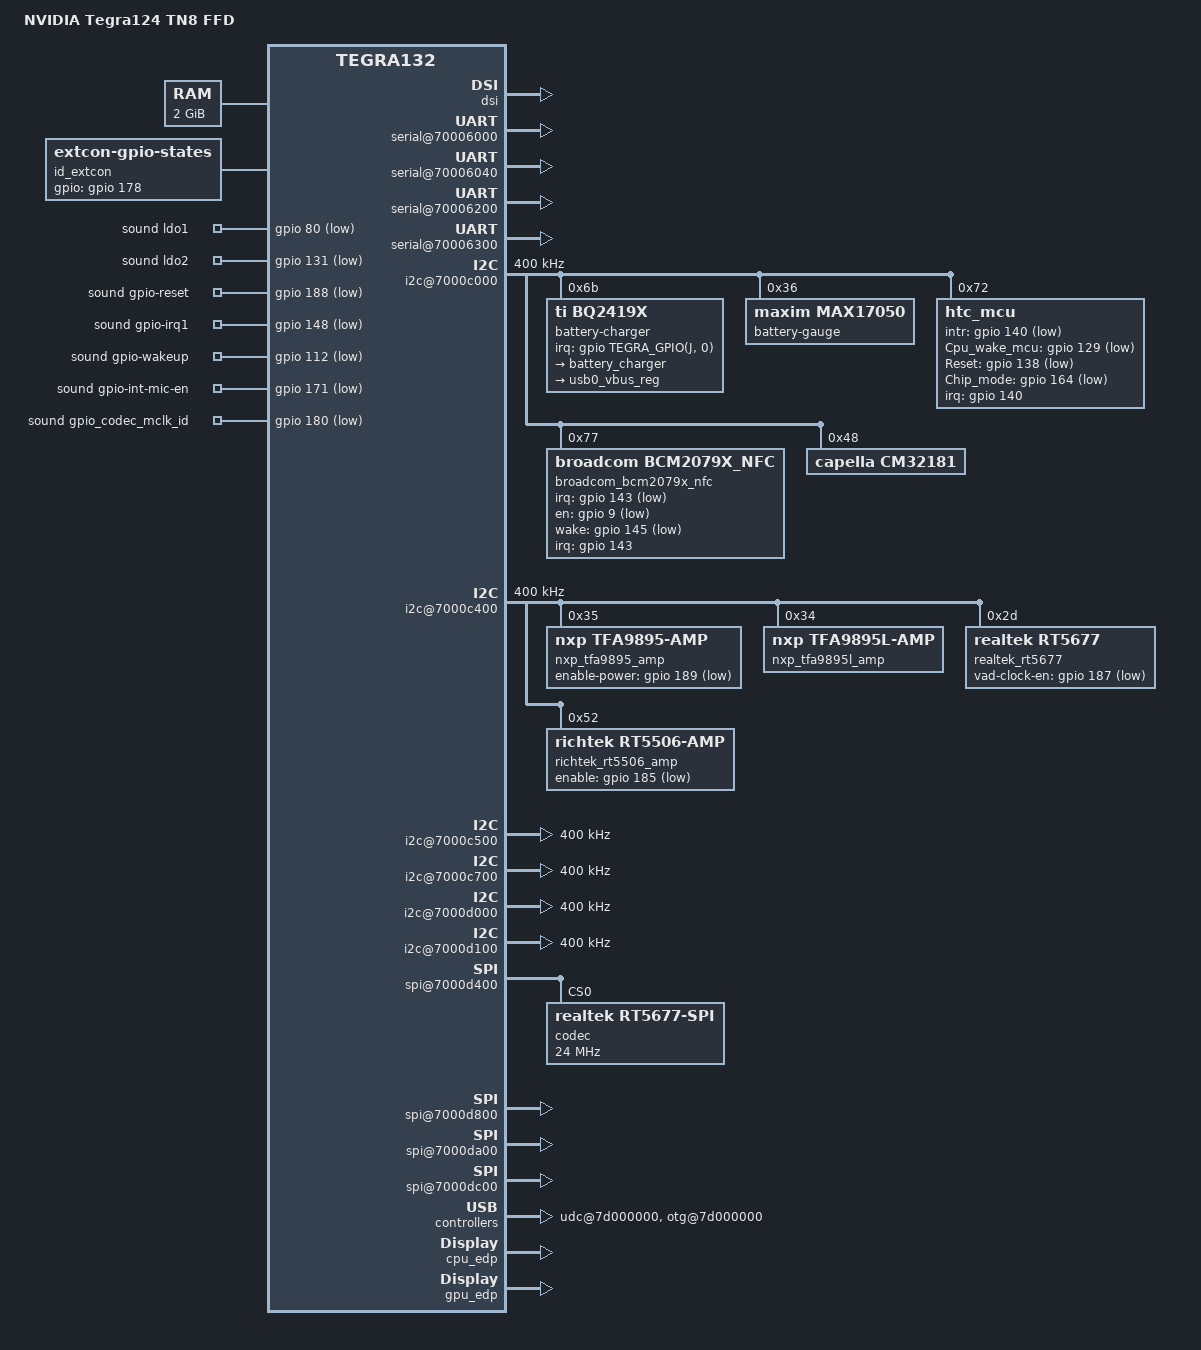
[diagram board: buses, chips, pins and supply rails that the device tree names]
#include <dt-bindings/gpio/tegra-gpio.h>
#include <dt-bindings/mfd/palmas.h>
#include <dt-bindings/regulator/regulator.h>

#define TEGRA132_PACKAGE_IS_DSC

#include "tegra132-soc-shield.dtsi"
/*#include "tegra132-flounder-camera.dtsi"
#include "tegra132-flounder-trusty.dtsi"*/
#include "tegra132-flounder-powermon.dtsi"
#include "tegra132-flounder-emc.dtsi"
#include "tegra132-tn8-dfll.dtsi"
#include "tegra132-flounder-touch.dtsi"
#include "tegra132-platforms/tegra132-flounder-gpio-default.dtsi"
#include "tegra132-platforms/tegra132-flounder-pinmux.dtsi"
#include "tegra132-platforms/tegra132-flounder-keys.dtsi"
#include "tegra132-platforms/tegra132-flounder-sdhci.dtsi"
#include "tegra132-platforms/tegra132-flounder-wireless.dtsi"
#include "tegra132-flounder-power-tree.dtsi"
#include "tegra124-platforms/tegra124-tn8-cpufreq.dtsi"
#include "tegra132-flounder-sysedp.dtsi"
#include "tegra132-platforms/tegra132-therm-est.dtsi"
#include "tegra132-flounder-thermal.dtsi"
#include "tegra132-flounder-sysedp_therm.dtsi"
#include "tegra132-platforms/tegra132-edp.dtsi"
#include "tegra132-platforms/tegra132-thermal-nct72.dtsi"
#include "tegra132-platforms/tegra132-thermal-Tboard-Tdiode.dtsi"
#include "tegra132-platforms/tegra132-power-dvfs.dtsi"

#include "panel-j-qxga-8-9.dtsi"

/ {
	model = "NVIDIA Tegra124 TN8 FFD";
	compatible = "nvidia,flounder", "nvidia,tegra132";

//	nvidia,boardids = "1780:1100:2:B:7","1794:1000:0:A:6";
	nvidia,boardids = "1761:1270:3";
	#address-cells = <2>;
	#size-cells = <2>;

	chosen {
		bootargs = "tegraid=40.0.0.00.00 vmalloc=256M video=tegrafb console= earlyprintk vpr_resize tsec=32M@4064M vpr=186M@3910M otf_key=914e3cd033c06c6370b630bb6ec9dd4e board_info=0x06e1:0x04d2:0x04:0x00:0x00 displayboard=0x0791:0x03e8:0x00:0x00:0x00 pmuboard=0x06e1:0x04d2:0x04:0x00:0x00";
		linux,initrd-start = <0x85000000>;
		linux,initrd-end = <0x851bc400>;
	};


	firmware {
		android {
			compatible = "android,firmware";
			hardware = "flounder";
		};
	};

        host1x {
		/* tegradc.0 */
		dc@54200000 {
			status = "okay";
			nvidia,dc-flags = <TEGRA_DC_FLAG_ENABLED>;
			nvidia,emc-clk-rate = <204000000>;
			nvidia,cmu-enable = <0>;
			nvidia,low-v-win = <0x2>;
			nvidia,fb-bpp = <32>; /* bits per pixel */
			nvidia,fb-flags = <TEGRA_FB_FLIP_ON_PROBE>;
		};
		/* tegradc.1 */
		dc@54240000 {
			status = "disabled";
			nvidia,dc-flags = <TEGRA_DC_FLAG_ENABLED>;
			nvidia,emc-clk-rate = <300000000>;
			nvidia,fb-bpp = <32>; /* bits per pixel */
			nvidia,fb-flags = <TEGRA_FB_FLIP_ON_PROBE>;
		};
		dsi {
			nvidia,dsi-controller-vs = <DSI_VS_1>;
			status = "okay";
			panel-j-qxga-8-9 {
				status = "okay";
				nvidia,panel-rst-gpio = <&gpio TEGRA_GPIO(H, 5) GPIO_ACTIVE_LOW>;
			};
		};
		tsec {
			status = "okay";
		};

		hdmi {
			status = "disabled";
		};
		vi {
			status = "disabled";
		};

	};

	pmc@7000e400 {
		status = "okay";
		nvidia,invert-interrupt;
		nvidia,suspend-mode = <0>;
		nvidia,cpu-suspend-freq = <408000>;
		nvidia,cpu-pwr-good-time = <500>;
		nvidia,cpu-pwr-off-time = <300>;
		nvidia,core-pwr-good-time = <3845 3845>;
		nvidia,core-pwr-off-time = <2000>;
		nvidia,core-power-req-active-high;
		nvidia,sys-clock-req-active-high;
	};

	serial@70006000 {
		compatible = "nvidia,tegra114-hsuart";
		status = "okay";
	};

	serial@70006040 {
		compatible = "nvidia,tegra114-hsuart";
		status = "okay";
	};

	serial@70006200 {
		compatible = "nvidia,tegra114-hsuart";
		status = "okay";
	};

	serial@70006300 {
		compatible = "nvidia,tegra114-hsuart";
		status = "okay";
	};

	memory@0x80000000 {
		device_type = "memory";
		reg = <0x0 0x80000000 0x0 0x80000000>;
	};

	i2c@7000c000 {
		status = "okay";
		clock-frequency = <400000>;

		battery-charger@6b {
			compatible = "ti,bq2419x";
			reg = <0x6b>;

			interrupt-parent = <&gpio>;
			interrupts = <TEGRA_GPIO(J, 0) 0x0>;

			battery_charger: charger {
				status = "okay";
				regulator-name = "batt_regulator";
				regulator-max-microamp = <3000000>;
				ti,disbale-suspend-during-charging;
				ti,input-voltage-limit-millivolt = <4440>;
				ti,charge-voltage-limit-millivolt = <4352>;
				ti,charge-term-current-limit-milliamp = <128>;
				ti,ir-comp-voltage-millivolt = <1>;
				ti,ir-comp-resister-ohm = <1>;
				ti,pre-charge-current-limit-milliamp = <512>;
				ti,fast-charge-current-limit-milliamp = <2944>;
				ti,thermal-regulation-threshold-degc = <120>;
				consumers {
					c1 {
						regulator-consumer-supply = "usb_bat_chg";
						regulator-consumer-device = "tegra-udc.0";
					};
					c2 {
						regulator-consumer-supply = "usb_bat_chg";
						regulator-consumer-device = "tegra-otg";
					};
				};
			};

			usb0_vbus_reg: vbus {
				regulator-name = "vbus_regulator";
				consumers {
					c1 {
						regulator-consumer-supply = "usb_vbus";
						regulator-consumer-device = "tegra-ehci.0";
					};

					c2 {
						regulator-consumer-supply = "usb_vbus";
						regulator-consumer-device = "tegra-otg";
					};
				};

			};
		};

		battery-gauge@36 {
			status = "okay";
			compatible = "maxim,max17050";
			reg = <0x36>;
		};

		htc_mcu@72 {
			status = "okay";
			compatible = "htc_mcu";
			reg = <0x72>;
			interrupt-parent = <&gpio>;
			interrupts = <140 0x0>;
			mcu,intr-gpio  = <&gpio 140 GPIO_ACTIVE_LOW>;
			mcu,gs_chip_layout = <1>;
			mcu,acceleration_axes = <7>;
			mcu,magnetic_axes = <7>;
			mcu,gyro_axes = <7>;
			mcu,Cpu_wake_mcu-gpio = <&gpio 129 GPIO_ACTIVE_LOW>;
			mcu,Reset-gpio = <&gpio 138 GPIO_ACTIVE_LOW>;
			mcu,Chip_mode-gpio = <&gpio 164 GPIO_ACTIVE_LOW>;
		};

		broadcom_bcm2079x_nfc@0x77 {
			status = "okay";
			compatible = "broadcom,bcm2079x_nfc";
			reg = <0x77>;
			broadcom,irq-gpio = <&gpio 143 GPIO_ACTIVE_LOW>;
			broadcom,en-gpio = <&gpio 9 GPIO_ACTIVE_LOW>;
			broadcom,wake-gpio = <&gpio 145 GPIO_ACTIVE_LOW>;
			interrupt-parent = <&gpio>;
			interrupts = <143 0x0>;
		};

		cm32181@48 {
			status = "okay";
			compatible = "capella,cm32181";
			reg = <0x48>;
		};
	};

	i2c@7000c400 {
		status = "okay";
		clock-frequency = <400000>;

		nxp_tfa9895_amp@35 {
			status = "okay";
			compatible = "nxp,tfa9895-amp";
			reg = <0x35>;
			tfa9895,enable-power-gpio = <&gpio 189 GPIO_ACTIVE_LOW>;
		};

		nxp_tfa9895l_amp@34 {
			status = "okay";
			compatible = "nxp,tfa9895l-amp";
			reg = <0x34>;
		};

		realtek_rt5677@2d {
			status = "okay";
			compatible = "realtek,rt5677";
			reg = <0x2d>;
			realtek,vad-clock-en = <&gpio 187 GPIO_ACTIVE_LOW>;
		};

		richtek_rt5506_amp@52 {
			status = "okay";
			compatible = "richtek,rt5506-amp";
			reg = <0x52>;
			richtek,enable-gpio = <&gpio 185 GPIO_ACTIVE_LOW>;
		};
	};

	i2c@7000c500 {
		status = "okay";
		clock-frequency = <400000>;
	};

	i2c@7000c700 {
		status = "okay";
		clock-frequency = <400000>;
	};

	i2c@7000d000 {
		status = "okay";
		clock-frequency = <400000>;
		nvidia,bit-banging-xfer-after-shutdown;
	};

	i2c@7000d100 {
		status = "okay";
		clock-frequency = <400000>;
	};

	spi@7000d400 {
		status = "okay";
		spi-max-frequency = <25000000>;

		codec@0 {
			status = "okay";	
			compatible = "realtek,rt5677-spi";	
			reg = <0>;	
			spi-max-frequency = <24000000>;	
		};
	};

	spi@7000d800 {
		status = "okay";
		spi-max-frequency = <25000000>;
	};

	spi@7000da00 {
		status = "okay";
		spi-max-frequency = <25000000>;
	};

	spi@7000dc00 {
		status = "okay";
		spi-max-frequency = <25000000>;
	};

	denver_cpuidle_pmic {
		type = <4>; /* TPS 65913 2.3*/
		retention-voltage = <11>;  /* Vret = 0.55v */
		lock = <0>;
	};

	xusb@70090000 {
		/* nvidia,uses_external_pmic;
		nvidia,gpio_controls_muxed_ss_lanes; */
		nvidia,gpio_ss1_sata = <0>;
		nvidia,portmap = <0x101>; /* SSP0, USB2P0 */
		nvidia,ss_portmap = <0x0>; /* SSP0 on USB2P0 */
		nvidia,lane_owner = <4>; /* USB3P0 */
		nvidia,ulpicap = <0>; /* No ulpi support. can we remove */
		status = "disabled";
	};

	udc@7d000000 {
		nvidia,port-otg;
		nvidia,charging-supported;
		nvidia,turn-off-vbus-in-lp0;
		nvidia,id-detection-type = <0x1>;
		nvidia,dcp-current-limit-ua = <2200000>;
		nvidia,enable-pmu-vbus-detection;
		nvidia,enable-aca-rid-detection;
		extcon-cables = <&extcon_cable_xlate 0 &extcon_cable_xlate 2 &extcon_cable_xlate 5>;
		extcon-cable-names = "vbus", "aca-rb", "aca-rc";
		#extcon-cells = <1>;
		status = "okay";
	};

	ehci@7d000000 {
		nvidia,port-otg;
		nvidia,has-hostpc;
		nvidia,is-intf-utmi;
		nvidia,turn-off-vbus-on-lp0;
		nvidia,hssync-start-delay = <0>;
		nvidia,idle-wait-delay = <17>;
		nvidia,elastic-limit = <16>;
		nvidia,term-range-adj = <6>;
		nvidia,xcvr-setup = <15>;
		nvidia,xcvr-lsfslew = <0>;
		nvidia,xcvr-lsrslew = <3>;
		nvidia,xcvr-use-fuses;
		nvidia,vbus-oc-map = <4>;
		nvidia,xcvr-setup-offset = <0>;
		status = "disabled";
	};

	otg@7d000000 {
		nvidia,turn-off-vbus-in-lp0;
		nvidia,enable-pmu-vbus-detection;
		nvidia,id-detection-type = <0x1>;
		nvidia,enable-y-cable-detection;
		nvidia,enable-aca-rid-detection;
		extcon-cables = <&extcon_cable_xlate 0 &extcon_cable_xlate 1 &extcon_cable_xlate 2 &extcon_cable_xlate 3 &extcon_cable_xlate 4 &extcon_cable_xlate 5>;
		extcon-cable-names = "vbus", "id", "aca-ra", "y-cable", "aca-rb", "aca-rc";
		#extcon-cells = <1>;
		status = "okay";
	};

	psy_extcon {
		compatible = "power-supply-extcon";
		power-supply,extcon-dev = "tegra-udc";
		extcon-cables = <&udc 1 &udc 2 &udc 3
				&udc 4 &udc 5 &udc 6
				&udc 7 &udc 8 &udc 9
				&udc 10 &udc 11 &udc 12 &udc 13 &otg 0 &otg 1>;
		extcon-cable-names = "usb-charger", "ta-charger", "maxim-charger",
				"qc2-charger", "downstream-charger","fast-charger",
				"slow-charger", "apple-500ma", "apple-1a",
				"apple-2a", "ACA NV-Charger", "ACA RID-B", "ACA RID-C", "Y-Cable", "ACA RID-A";
				status = "okay";
	};

	extcon {
		compatible = "simple-bus";
		device_type = "external-connection";
		#address-cells = <1>;
		#size-cells = <0>;
	};

	extcon {
		id_extcon: extcon@1 {
			compatible = "extcon-gpio-states";
			reg = <0x1>;
			extcon-gpio,name = "ID";
			extcon-gpio,cable-states = <0x0 0x1
						0x1 0x0>;
			gpios = <&gpio 178 0>;
			extcon-gpio,out-cable-names = "USB-HOST";
			#extcon-cells = <1>;
		};

 		extcon_cable_xlate: extcon@0 {
 			compatible = "extcon-cable-xlate";
 			reg = <0x0>;
 			extcon-name = "cable-xlate";
 			output-cable-names = "USB", "USB-Host", "ACA-A", "Y-Cable", "ACA-B", "ACA-C", "ACA-NV";
 			extcon-cables = <&palmas_extcon 0 &id_extcon 0 &palmas_extcon 2 &palmas_extcon 3 &palmas_extcon 4>;
 			extcon-cable-names = "vbus", "id", "aca-ra", "aca-rb", "aca-rc";
 			cable-new-states = <0x0     0x0     0x3F    0x0 0x0
 					0x0     0x1     0x3F    0x1   0x0
 					0x2     0x1     0x3F    0x0   0x0
 					0x0     0x2     0x3F    0x2   0x0
 					0x0     0x3     0x3F    0x8   0x0
 					0x2     0x3     0x3F    0x2   0x0
 					0x3     0x1     0x3F    0x0   0x0
 					0x3     0x2     0x3F    0x2   0x0
					0x0     0x4     0x3F    0x4   0x0
                                        0x0     0x8     0x3F    0x10  0x0
                                        0x0     0x10    0x3F    0x20  0x0>;
 			#extcon-cells = <1>;
 			status = "okay";
 		};
 	};

	ehci@7d004000 {
		nvidia,has-hostpc;
		nvidia,turn-off-vbus-on-lp0;
		nvidia,is-intf-utmi;
		status = "disabled";
	};

	ehci@7d008000 {
		nvidia,has-hostpc;
		nvidia,turn-off-vbus-on-lp0;
		nvidia,is-intf-utmi;
		status = "disabled";
	};

	HTC_HEADSET_MGR {
		status = "okay";
		compatible = "htc,headset_mgr";
	};
	
	HTC_HEADSET_PMIC {
		status = "okay";
		compatible = "htc,headset_pmic";
	};

	sound {
		status = "okay";
		compatible = "nvidia,tegra-audio-rt5677";
		nvidia,codec_name = "rt5677.1-002d";
		nvidia,codec_dai_name = "rt5677-aif1";
		nvidia,ldo1-gpios = <&gpio 80 GPIO_ACTIVE_LOW>;
		nvidia,ldo2-gpios = <&gpio 131 GPIO_ACTIVE_LOW>;
		nvidia,gpio-reset = <&gpio 188 GPIO_ACTIVE_LOW>;
		nvidia,gpio-irq1 = <&gpio 148 GPIO_ACTIVE_LOW>;
		nvidia,gpio-wakeup = <&gpio 112 GPIO_ACTIVE_LOW>;
		nvidia,gpio-int-mic-en = <&gpio 171 GPIO_ACTIVE_LOW>;
	//	nvidia,gpio-ext-mic-en = <&gpio 147 GPIO_ACTIVE_LOW>;
		nvidia,gpio_codec_mclk_id = <&gpio 180 GPIO_ACTIVE_LOW>;
		nvidia,codec_mclk_name = "extperiph1_clk";
		nvidia,i2s-param-hifi = <1 1 2 16 2 48000 1536000>;
		nvidia,i2s-param-speaker = <2 1 2 16 2 48000 1536000>;
		nvidia,i2s-param-bt = <3 1 0 16 2 48000 512000>;
					
	};

	cpu_edp {
		status = "okay";
		nvidia,edp_limit = <16800>;
	};

	gpu_edp {
		status = "okay";
		nvidia,edp_limit = <16800>;
	};

	watchdog@60005100 {
		nvidia,enable-on-init;
		nvidia,heartbeat-init = <120>;
	};
};
